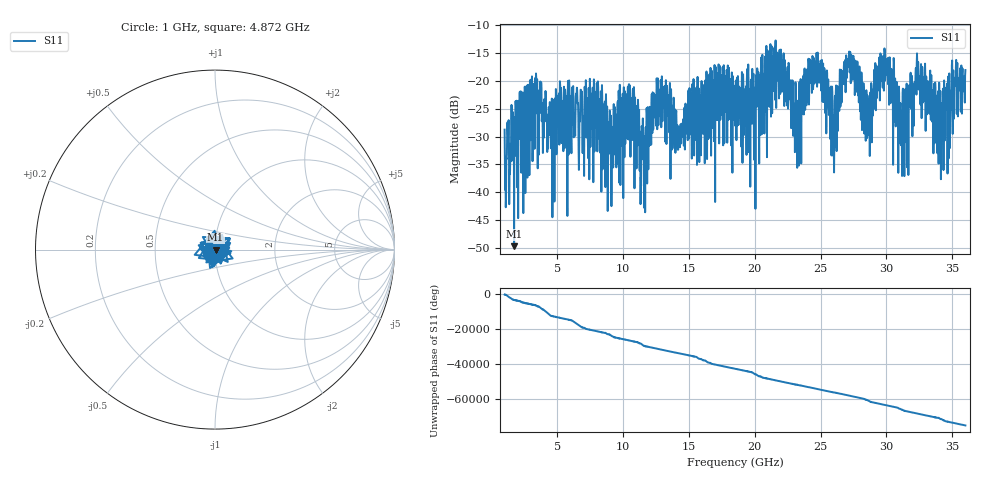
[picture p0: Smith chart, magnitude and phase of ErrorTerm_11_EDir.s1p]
!  1-Port S-parameters saved by WinCal
! VAR NAME=Unknown labuser
! VAR Error Term Name=EDir phys rcv port 1 phys src port 1
# Hz S RI R 50
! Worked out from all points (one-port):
!   1601 points, 1 GHz to 36 GHz, reference 50 ohm
!   lowest |S11| = -49.7 dB at 1.722 GHz (marker M1), VSWR 1.01, Z = 50.3 - j0.121 ohm
!   |S11| at or under -10 dB: start of sweep to end of sweep
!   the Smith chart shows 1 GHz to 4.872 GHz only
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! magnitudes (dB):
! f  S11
! 1 GHz  -28.8
! 1.722 GHz  -49.7
! 3.319 GHz  -19.5
! 4.697 GHz  -30.4
! 5.375 GHz  -25.1
! 7.934 GHz  -25.5
! 9.006 GHz  -25.7
! 9.75 GHz  -20.7
! 10.67 GHz  -23.3
! 11.5 GHz  -26.7
! 12.79 GHz  -22.9
! 14.12 GHz  -28.0
! 17.19 GHz  -18.6
! 18.5 GHz  -23.1
! 19.9 GHz  -18.7
! 21.63 GHz  -24.9
! 22.88 GHz  -19.9
! 23.38 GHz  -23.0
! 24.65 GHz  -20.2
! 26.07 GHz  -23.7
! 27.25 GHz  -14.8
! 28.48 GHz  -21.7
! 29.92 GHz  -19.3
! 31.01 GHz  -31.1
! 31.62 GHz  -20.8
! 32.48 GHz  -21.6
! 34.01 GHz  -20.3
! 36 GHz  -18.0
